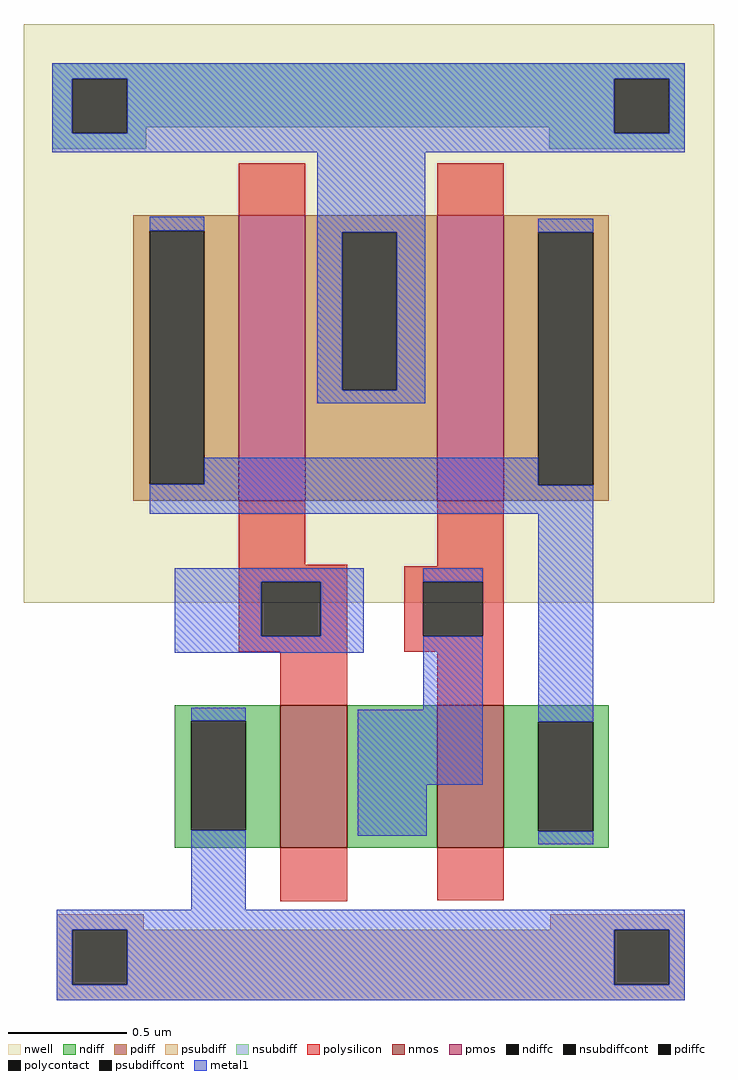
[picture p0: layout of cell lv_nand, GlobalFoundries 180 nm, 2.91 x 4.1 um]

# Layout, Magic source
magic
tech gf180mcuD
magscale 1 10
<< nwell >>
rect 16932 51136 17513 51623
<< nmos >>
rect 17148 50930 17204 51050
rect 17280 50930 17336 51050
<< pmos >>
rect 17113 51222 17169 51462
rect 17280 51222 17336 51462
<< ndiff >>
rect 17059 51037 17148 51050
rect 17059 50945 17073 51037
rect 17119 50945 17148 51037
rect 17059 50930 17148 50945
rect 17204 50930 17280 51050
rect 17336 51036 17424 51050
rect 17336 50944 17365 51036
rect 17411 50944 17424 51036
rect 17336 50930 17424 50944
<< pdiff >>
rect 17024 51449 17113 51462
rect 17024 51236 17038 51449
rect 17084 51236 17113 51449
rect 17024 51222 17113 51236
rect 17169 51448 17280 51462
rect 17169 51315 17200 51448
rect 17246 51315 17280 51448
rect 17169 51222 17280 51315
rect 17336 51448 17424 51462
rect 17336 51235 17365 51448
rect 17411 51235 17424 51448
rect 17336 51222 17424 51235
<< ndiffc >>
rect 17073 50945 17119 51037
rect 17365 50944 17411 51036
<< pdiffc >>
rect 17038 51236 17084 51449
rect 17200 51315 17246 51448
rect 17365 51235 17411 51448
<< psubdiff >>
rect 16960 50861 17033 50874
rect 17375 50861 17488 50874
rect 16960 50815 16973 50861
rect 17019 50815 17429 50861
rect 17475 50815 17488 50861
rect 16960 50802 17488 50815
<< nsubdiff >>
rect 16956 51577 17488 51590
rect 16956 51531 16973 51577
rect 17019 51536 17429 51577
rect 17019 51531 17035 51536
rect 16956 51518 17035 51531
rect 17374 51531 17429 51536
rect 17475 51531 17488 51577
rect 17374 51518 17488 51531
<< psubdiffcont >>
rect 16973 50815 17019 50861
rect 17429 50815 17475 50861
<< nsubdiffcont >>
rect 16973 51531 17019 51577
rect 17429 51531 17475 51577
<< polysilicon >>
rect 17113 51462 17169 51506
rect 17280 51462 17336 51506
rect 17113 51168 17169 51222
rect 17113 51154 17204 51168
rect 17280 51167 17336 51222
rect 17113 51108 17132 51154
rect 17182 51108 17204 51154
rect 17113 51095 17204 51108
rect 17252 51154 17336 51167
rect 17252 51108 17268 51154
rect 17318 51108 17336 51154
rect 17252 51095 17336 51108
rect 17148 51050 17204 51095
rect 17280 51050 17336 51095
rect 17148 50885 17204 50930
rect 17280 50886 17336 50930
<< polycontact >>
rect 17132 51108 17182 51154
rect 17268 51108 17318 51154
<< metal1 >>
rect 16956 51577 17488 51590
rect 16956 51531 16973 51577
rect 17019 51531 17429 51577
rect 17475 51531 17488 51577
rect 16956 51515 17488 51531
rect 17038 51449 17084 51461
rect 17179 51448 17270 51515
rect 17179 51315 17200 51448
rect 17246 51315 17270 51448
rect 17179 51304 17270 51315
rect 17365 51448 17411 51459
rect 17084 51236 17365 51258
rect 17038 51235 17365 51236
rect 17038 51211 17411 51235
rect 17059 51154 17218 51165
rect 17059 51108 17132 51154
rect 17182 51108 17218 51154
rect 17059 51094 17218 51108
rect 17268 51154 17318 51165
rect 17073 51037 17119 51048
rect 17268 51046 17318 51108
rect 17073 50878 17119 50945
rect 17213 50983 17318 51046
rect 17365 51036 17411 51211
rect 17213 50940 17271 50983
rect 17365 50933 17411 50944
rect 16960 50861 17488 50878
rect 16960 50815 16973 50861
rect 17019 50815 17429 50861
rect 17475 50815 17488 50861
rect 16960 50802 17488 50815
<< end >>
